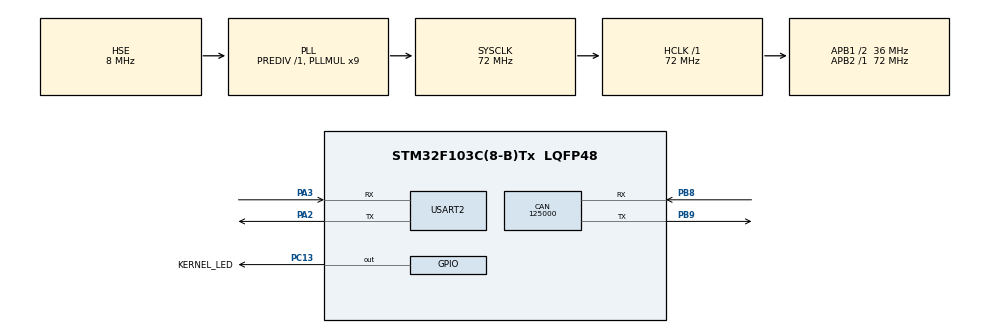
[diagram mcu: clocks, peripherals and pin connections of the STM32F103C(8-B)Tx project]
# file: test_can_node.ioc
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CAN.BS1=CAN_BS1_13TQ
CAN.BS2=CAN_BS2_4TQ
CAN.CalculateBaudRate=125000
CAN.CalculateTimeBit=7999.99
CAN.CalculateTimeQuantum=444.44444444444446
Mcu.Family=STM32F1
Mcu.Name=STM32F103C(8-B)Tx
Mcu.Package=LQFP48
NVIC.PriorityGroup=NVIC_PRIORITYGROUP_4
PA13.Mode=JTAG_5_pins
PA13.Signal=SYS_JTMS-SWDIO
PA14.Mode=JTAG_5_pins
PA14.Signal=SYS_JTCK-SWCLK
PA15.Mode=JTAG_5_pins
PA15.Signal=SYS_JTDI
PA2.Mode=Asynchronous
PA2.Signal=USART2_TX
PA3.Mode=Asynchronous
PA3.Signal=USART2_RX
PB3.Mode=JTAG_5_pins
PB3.Signal=SYS_JTDO-TRACESWO
PB4.Mode=JTAG_5_pins
PB4.Signal=SYS_NJTRST
PB8.Mode=CAN_Activate
PB8.Signal=CAN_RX
PB9.Mode=CAN_Activate
PB9.Signal=CAN_TX
PC13-TAMPER-RTC.GPIO_Label=KERNEL_LED
PC13-TAMPER-RTC.Signal=GPIO_Output
PC14-OSC32_IN.Mode=LSE-External-Oscillator
PC14-OSC32_IN.Signal=RCC_OSC32_IN
PC15-OSC32_OUT.Mode=LSE-External-Oscillator
PC15-OSC32_OUT.Signal=RCC_OSC32_OUT
PD0-OSC_IN.Mode=HSE-External-Oscillator
PD0-OSC_IN.Signal=RCC_OSC_IN
PD1-OSC_OUT.Mode=HSE-External-Oscillator
PD1-OSC_OUT.Signal=RCC_OSC_OUT
ProjectManager.HeapSize=0x200
ProjectManager.StackSize=0x400
ProjectManager.TargetToolchain=STM32CubeIDE
RCC.AHBFreq_Value=72000000
RCC.APB1CLKDivider=RCC_HCLK_DIV2
RCC.APB1Freq_Value=36000000
RCC.APB1TimFreq_Value=72000000
RCC.APB2Freq_Value=72000000
RCC.APB2TimFreq_Value=72000000
RCC.HCLKFreq_Value=72000000
RCC.PLLMUL=RCC_PLL_MUL9
RCC.PLLSourceVirtual=RCC_PLLSOURCE_HSE
RCC.SYSCLKFreq_VALUE=72000000
RCC.SYSCLKSource=RCC_SYSCLKSOURCE_PLLCLK
RCC.USBFreq_Value=72000000
USART2.VirtualMode=VM_ASYNC
board=custom

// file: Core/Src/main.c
/* USER CODE BEGIN Header */
/**
 ******************************************************************************
 * @file           : main.c
 * @brief          : Main program body
 ******************************************************************************
 * @attention
 *
 * <h2><center>&copy; Copyright (c) 2021 STMicroelectronics.
 * All rights reserved.</center></h2>
 *
 * This software component is licensed by ST under BSD 3-Clause license,
 * the "License"; You may not use this file except in compliance with the
 * License. You may obtain a copy of the License at:
 *                        opensource.org/licenses/BSD-3-Clause
 *
 ******************************************************************************
 */
/* USER CODE END Header */
#include "main.h"
#include "can.h"
#include "usart.h"
#include "gpio.h"

/* USER CODE BEGIN Includes */

#include "cmsis_os2.h"
#include "xorshift.h"

/* USER CODE END Includes */

/* USER CODE BEGIN PD */

#define DATA_LENGTH 8
#define KERNEL_LED_DELAY 1000

#define BATTERY_TX_DELAY 1000
#define MOTOR_TX_DELAY 1000

#define MAX_CAN_BATT_TX_DELAY    200
#define MAX_CAN_MOTOR_TX_DELAY    200

/* USER CODE END PD */

/* USER CODE BEGIN PV */

osThreadId_t sendBatteryCANMsgHandle;
osThreadId_t sendMotorCANMsgHandle;
osThreadId_t kernelLEDHandle;

uint8_t battery_msg_data[8];

union FloatBytes {
    float float_value;
    uint8_t bytes[4];
} FloatBytes;

union FloatBytes motor_temp;

/*
CAN_TxHeaderTypeDef motor_temp_msg_header = {.StdId = 0x050B,
    .ExtId = 0x0000,
    .IDE = CAN_ID_STD,
    .RTR = CAN_RTR_DATA,
    .DLC = DATA_LENGTH,
    .TransmitGlobalTime = DISABLE
};
*/

const osThreadAttr_t sendBatteryCANMsg_attr = {
    .name = "sendBatteryCANMsg",
    .priority = (osPriority_t) osPriorityHigh,
    .stack_size = 128 * 4
};

const osThreadAttr_t sendMotorCANMsg_attr = {
    .name = "sendMotorCANMsg",
    .priority = (osPriority_t) osPriorityHigh,
    .stack_size = 128 * 4
};

const osThreadAttr_t kernelLED_attr = {
    .name = "kernelLED",
    .priority = (osPriority_t) osPriorityNormal,
    .stack_size = 128 * 4
};

HAL_StatusTypeDef status;
uint8_t error;

uint32_t can_mailbox;

uint32_t free_level;

uint16_t changing_soc = 0;
// uint8_t changing_motor_temp = 10;

/* USER CODE END PV */

void SystemClock_Config(void);
/* USER CODE BEGIN PFP */

void sendBatteryCANMsg(void *argument);
void kernelLEDTask(void *argument);
void sendMotorCANMsg(void *argument);

/* USER CODE END PFP */

int main(void)
{

    /* MCU Configuration--------------------------------------------------------*/

    /* Reset of all peripherals, Initializes the Flash interface and the Systick. */
    HAL_Init();

    /* Configure the system clock */
    SystemClock_Config();

    /* Initialize all configured peripherals */
    MX_GPIO_Init();
    MX_CAN_Init();
    MX_USART2_UART_Init();
    /* USER CODE BEGIN 2 */

    HAL_CAN_Start(&hcan);

    osKernelInitialize();

    sendBatteryCANMsgHandle = osThreadNew(sendBatteryCANMsg, NULL, &sendBatteryCANMsg_attr);
    sendMotorCANMsgHandle = osThreadNew(sendMotorCANMsg, NULL, &sendMotorCANMsg_attr);
    // kernelLEDHandle = osThreadNew(kernelLEDTask, NULL, &kernelLED_attr);

    osKernelStart();

    /* USER CODE END 2 */

    /* Infinite loop */
    while (1)
    {

    }
}

void SystemClock_Config(void)
{
    RCC_OscInitTypeDef RCC_OscInitStruct = {0};
    RCC_ClkInitTypeDef RCC_ClkInitStruct = {0};

    /** Initializes the RCC Oscillators according to the specified parameters
     * in the RCC_OscInitTypeDef structure.
     */
    RCC_OscInitStruct.OscillatorType = RCC_OSCILLATORTYPE_HSE;
    RCC_OscInitStruct.HSEState = RCC_HSE_ON;
    RCC_OscInitStruct.HSEPredivValue = RCC_HSE_PREDIV_DIV1;
    RCC_OscInitStruct.HSIState = RCC_HSI_ON;
    RCC_OscInitStruct.PLL.PLLState = RCC_PLL_ON;
    RCC_OscInitStruct.PLL.PLLSource = RCC_PLLSOURCE_HSE;
    RCC_OscInitStruct.PLL.PLLMUL = RCC_PLL_MUL9;
    if (HAL_RCC_OscConfig(&RCC_OscInitStruct) != HAL_OK)
    {
        Error_Handler();
    }
    /** Initializes the CPU, AHB and APB buses clocks
    */
    RCC_ClkInitStruct.ClockType = RCC_CLOCKTYPE_HCLK|RCC_CLOCKTYPE_SYSCLK
        |RCC_CLOCKTYPE_PCLK1|RCC_CLOCKTYPE_PCLK2;
    RCC_ClkInitStruct.SYSCLKSource = RCC_SYSCLKSOURCE_PLLCLK;
    RCC_ClkInitStruct.AHBCLKDivider = RCC_SYSCLK_DIV1;
    RCC_ClkInitStruct.APB1CLKDivider = RCC_HCLK_DIV2;
    RCC_ClkInitStruct.APB2CLKDivider = RCC_HCLK_DIV1;

    if (HAL_RCC_ClockConfig(&RCC_ClkInitStruct, FLASH_LATENCY_2) != HAL_OK)
    {
        Error_Handler();
    }
}

/* USER CODE BEGIN 4 */

__NO_RETURN void kernelLEDTask (void *argument) {

    while (1) {

        osKernelState_t kernel_status = osKernelGetState();

        if (kernel_status == osKernelRunning) {
            HAL_GPIO_TogglePin(KERNEL_LED_GPIO_Port, KERNEL_LED_Pin);
        }

        osDelay(KERNEL_LED_DELAY);
    }
}

/*
__NO_RETURN void sendMotorTempMsg(void *argument) {
    uint8_t msg_data[8] = {0};

    while (1) {
        motor_temp.float_value = changing_motor_temp;
        changing_motor_temp += 5;

        for (int i = 0; i < 4; i++) {
            msg_data[i] = motor_temp.bytes[i];
        }

        free_level = HAL_CAN_GetTxMailboxesFreeLevel(&hcan);
        status = HAL_CAN_AddTxMessage(&hcan, &motor_temp_msg_header, msg_data, &can_mailbox);

        if (status != HAL_OK) {
            error = 1;
        } else {
            HAL_GPIO_TogglePin(KERNEL_LED_GPIO_Port, KERNEL_LED_Pin);
        }

        osDelay(MOTOR_TEMP_TX_DELAY);
    }
}
*/

__NO_RETURN void sendMotorCANMsg(void *argument) {

    CAN_TxHeaderTypeDef rand_header;

    uint8_t rand_data[8] = {0};
    uint32_t rand_index = 0;
    uint16_t rand_delay = MAX_CAN_MOTOR_TX_DELAY;

    while (1) {
        rand_index = rand(NUM_MOTOR_MSGS);
        rand_header = can_motor_headers[rand_index];

        rand_array(&rand_data[0], 8);

        free_level = HAL_CAN_GetTxMailboxesFreeLevel(&hcan);

        status = HAL_CAN_AddTxMessage(&hcan, &rand_header, rand_data, &can_mailbox);

        if (status != HAL_OK) {
            error = 1;
        } else {
            HAL_GPIO_TogglePin(KERNEL_LED_GPIO_Port, KERNEL_LED_Pin);
        }

        rand_delay = rand(MAX_CAN_MOTOR_TX_DELAY);
        osDelay(rand_delay);
    }
}

__NO_RETURN void sendBatteryCANMsg(void *argument) {
    CAN_TxHeaderTypeDef rand_header;

    uint8_t rand_data[8] = {0};
    uint32_t rand_index = 0;
    uint16_t rand_delay = MAX_CAN_BATT_TX_DELAY;

    uint8_t rand_soc = 0;

    while (1) {
        rand_index = rand(NUM_BATTERY_MSGS);
        rand_header = can_battery_headers[rand_index];

        if (rand_header.StdId == 0x626) {
            rand_soc = rand(100);
            rand_data[0] = rand_soc;
        } else {
            rand_array(&rand_data[0], 8);
        }

        free_level = HAL_CAN_GetTxMailboxesFreeLevel(&hcan);

        status = HAL_CAN_AddTxMessage(&hcan, &rand_header, rand_data, &can_mailbox);

        if (status != HAL_OK) {
            error = 1;
        } else {
            HAL_GPIO_TogglePin(KERNEL_LED_GPIO_Port, KERNEL_LED_Pin);
        }

        rand_delay = rand(MAX_CAN_BATT_TX_DELAY);
        osDelay(rand_delay);
    }
}

/* USER CODE END 4 */

void Error_Handler(void)
{
    __disable_irq();
    while (1)
    {
    }
}

/************************ (C) COPYRIGHT STMicroelectronics *****END OF FILE****/
